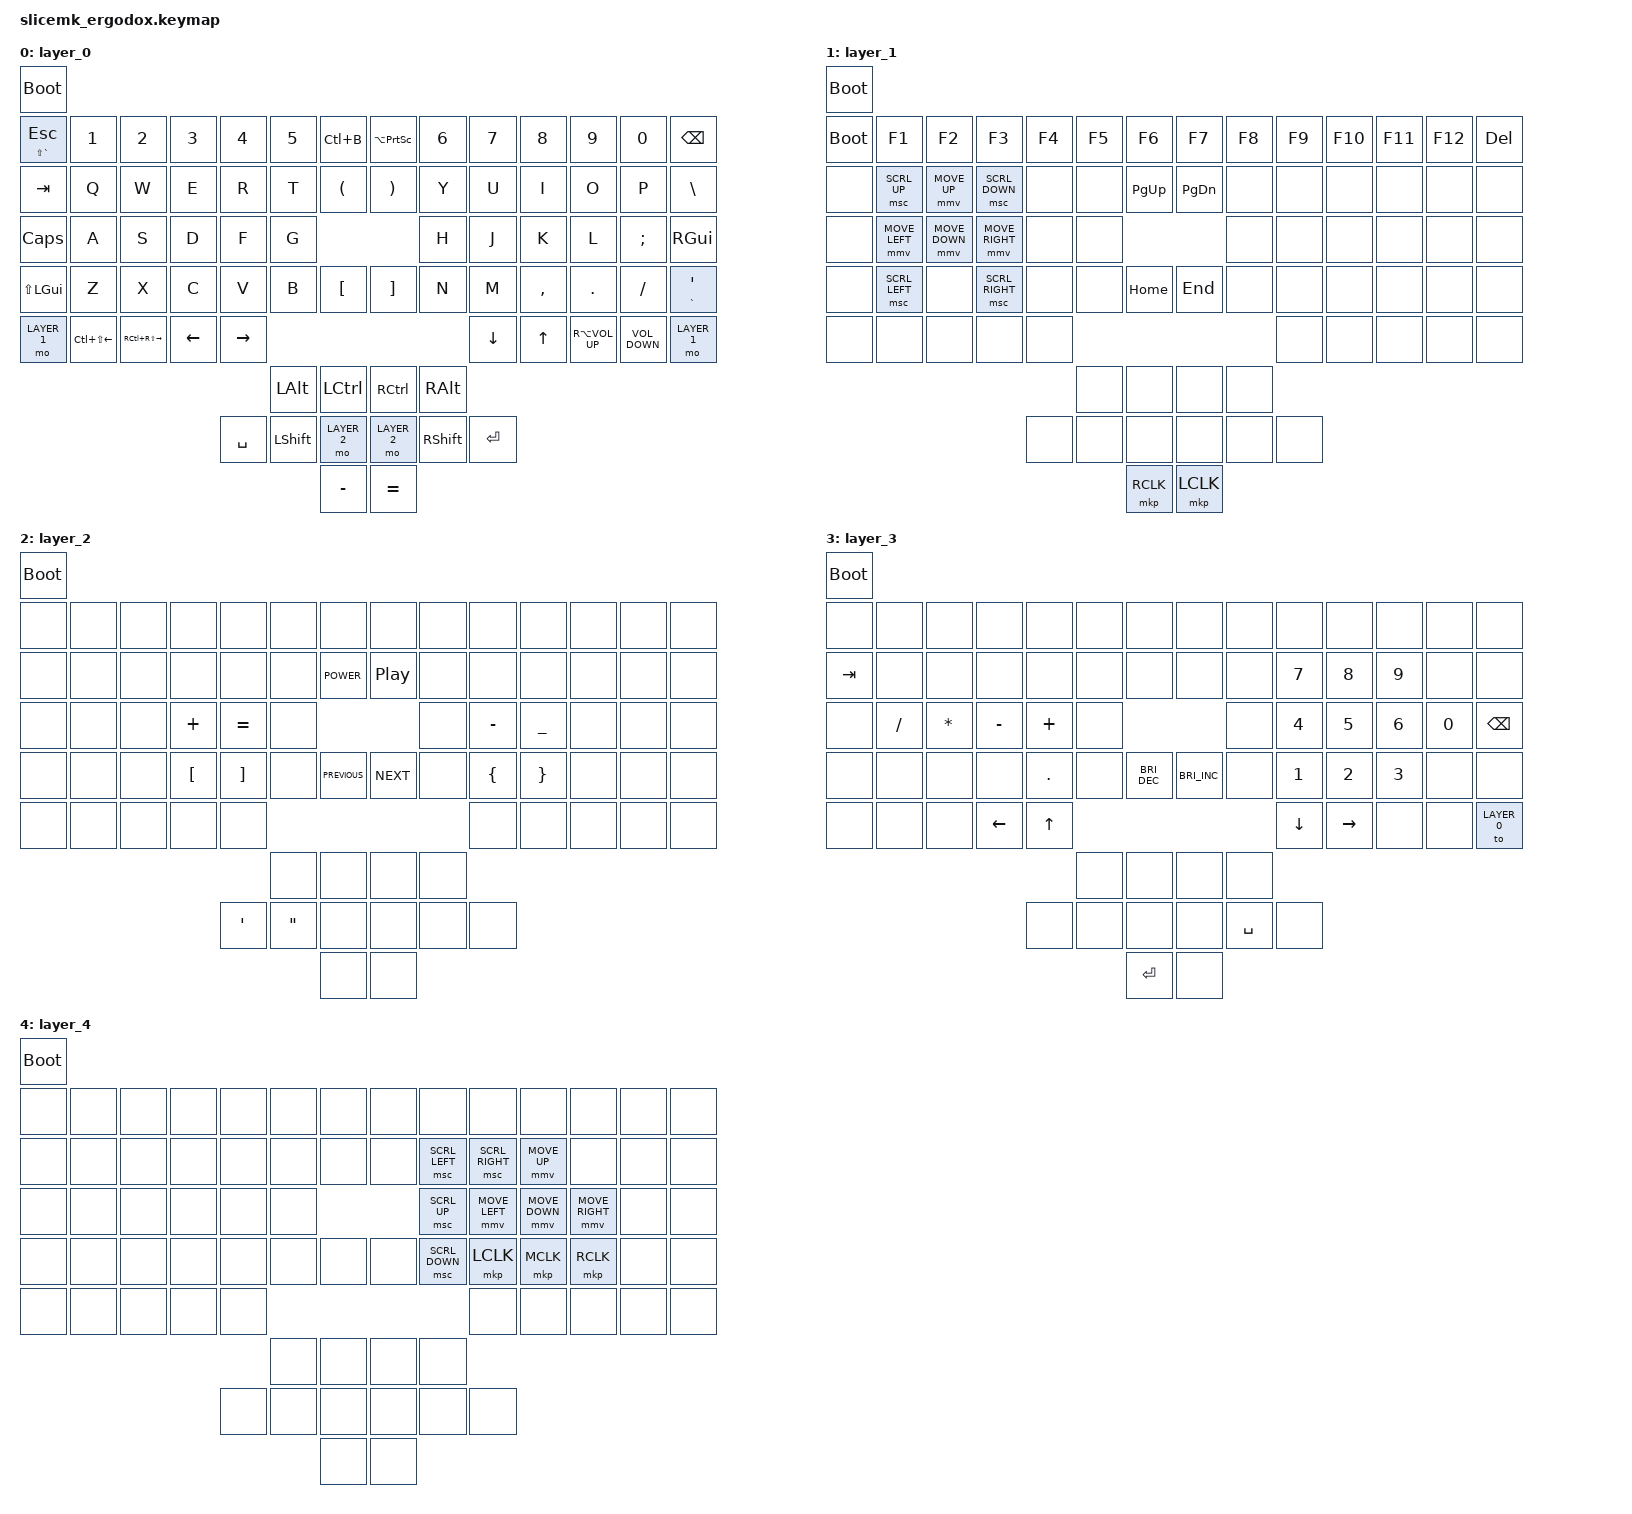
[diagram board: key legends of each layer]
#define LAYER_0 0
#define LAYER_1 1
#define LAYER_2 2
#define LAYER_NMPAD 3
#define LAYER_MOUSE 4

#include <behaviors.dtsi>
#include <dt-bindings/zmk/bt.h>
#include <dt-bindings/zmk/keys.h>
#include <dt-bindings/zmk/mouse.h>
#include <dt-bindings/zmk/outputs.h>
#include <dt-bindings/zmk/rgb.h>

/ {
	keymap {
		compatible = "zmk,keymap";
		layer_0 {
			bindings = <
				&bootloader
				&mt LS(GRAVE) ESCAPE &kp NUMBER_1           &kp NUMBER_2            &kp NUMBER_3   &kp NUMBER_4    &kp NUMBER_5   &kp LC(B)            &kp LA(PRINTSCREEN)   &kp NUMBER_6    &kp NUMBER_7   &kp NUMBER_8 &kp NUMBER_9        &kp NUMBER_0      &kp BACKSPACE
				&kp TAB              &kp Q                  &kp W                   &kp E          &kp R           &kp T          &kp LEFT_PARENTHESIS &kp RIGHT_PARENTHESIS &kp Y           &kp U          &kp I        &kp O               &kp P             &kp BACKSLASH
				&kp CAPSLOCK         &kp A                  &kp S                   &kp D          &kp F           &kp G                                                     &kp H           &kp J          &kp K        &kp L               &kp SEMICOLON     &kp RIGHT_GUI
				&kp LS(LEFT_GUI)     &kp Z                  &kp X                   &kp C          &kp V           &kp B          &kp LEFT_BRACKET     &kp RIGHT_BRACKET     &kp N           &kp M          &kp COMMA    &kp PERIOD          &kp SLASH         &mt GRAVE SINGLE_QUOTE
				&mo LAYER_1          &kp LC(LS(LEFT_ARROW)) &kp RC(RS(RIGHT_ARROW)) &kp LEFT_ARROW &kp RIGHT_ARROW                                                                           &kp DOWN_ARROW &kp UP_ARROW &kp RA(C_VOLUME_UP) &kp C_VOLUME_DOWN &mo LAYER_1
				                                                                                                   &kp LEFT_ALT   &kp LEFT_CONTROL     &kp RIGHT_CONTROL     &kp RIGHT_ALT
				                                                                                   &kp SPACE       &kp LEFT_SHIFT &mo LAYER_2          &mo LAYER_2           &kp RIGHT_SHIFT &kp RETURN
				                                                                                                                  &kp MINUS            &kp EQUAL
			>;
		};
		layer_1 {
			bindings = <
				&bootloader
				&bootloader &kp F1         &kp F2         &kp F3          &kp F4 &kp F5 &kp F6      &kp F7        &kp F8 &kp F9 &kp F10 &kp F11 &kp F12 &kp DELETE
				&none       &msc SCRL_UP   &mmv MOVE_UP   &msc SCRL_DOWN  &none  &none  &kp PAGE_UP &kp PAGE_DOWN &none  &none  &none   &none   &none   &none
				&none       &mmv MOVE_LEFT &mmv MOVE_DOWN &mmv MOVE_RIGHT &none  &none                            &none  &none  &none   &none   &none   &none
				&none       &msc SCRL_LEFT &none          &msc SCRL_RIGHT &none  &none  &kp HOME    &kp END       &none  &none  &none   &none   &none   &none
				&none       &none          &none          &none           &none                                          &none  &none   &none   &none   &none
				                                                                 &none  &none       &none         &none
				                                                          &none  &none  &none       &none         &none  &none
				                                                                        &mkp RCLK   &mkp LCLK
			>;
		};
		layer_2 {
			bindings = <
				&bootloader
				&none &none &none &none            &none             &none             &none          &none            &none &none          &none           &none &none &none
				&none &none &none &none            &none             &none             &kp C_POWER    &kp C_PLAY_PAUSE &none &none          &none           &none &none &none
				&none &none &none &kp PLUS         &kp EQUAL         &none                                             &none &kp MINUS      &kp UNDERSCORE  &none &none &none
				&none &none &none &kp LEFT_BRACKET &kp RIGHT_BRACKET &none             &kp C_PREVIOUS &kp C_NEXT       &none &kp LEFT_BRACE &kp RIGHT_BRACE &none &none &none
				&none &none &none &none            &none                                                                     &none          &none           &none &none &none
				                                                     &none             &none          &none            &none
				                                   &kp SINGLE_QUOTE  &kp DOUBLE_QUOTES &none          &none            &none &none
				                                                                       &none          &none
			>;
		};
		layer_3 {
			bindings = <
				&bootloader
				&none   &none     &none        &none          &none        &none &none                &none                &none     &none          &none           &none        &none        &none
				&kp TAB &none     &none        &none          &none        &none &none                &none                &none     &kp NUMBER_7   &kp NUMBER_8    &kp NUMBER_9 &none        &none
				&none   &kp SLASH &kp ASTERISK &kp MINUS      &kp PLUS     &none                                           &none     &kp NUMBER_4   &kp NUMBER_5    &kp NUMBER_6 &kp NUMBER_0 &kp BACKSPACE
				&none   &none     &none        &none          &kp PERIOD   &none &kp C_BRIGHTNESS_DEC &kp C_BRIGHTNESS_INC &none     &kp NUMBER_1   &kp NUMBER_2    &kp NUMBER_3 &none        &none
				&none   &none     &none        &kp LEFT_ARROW &kp UP_ARROW                                                           &kp DOWN_ARROW &kp RIGHT_ARROW &none        &none        &to LAYER_0
				                                                           &none &none                &none                &none
				                                              &none        &none &none                &none                &kp SPACE &none
				                                                                 &kp RETURN           &none
			>;
		};
		layer_4 {
			bindings = <
				&bootloader
				&none &none &none &none &none &none &none &none &none          &none           &none          &none           &none &none
				&none &none &none &none &none &none &none &none &msc SCRL_LEFT &msc SCRL_RIGHT &mmv MOVE_UP   &none           &none &none
				&none &none &none &none &none &none             &msc SCRL_UP   &mmv MOVE_LEFT  &mmv MOVE_DOWN &mmv MOVE_RIGHT &none &none
				&none &none &none &none &none &none &none &none &msc SCRL_DOWN &mkp LCLK       &mkp MCLK      &mkp RCLK       &none &none
				&none &none &none &none &none                                  &none           &none          &none           &none &none
				                              &none &none &none &none
				                        &none &none &none &none &none          &none
				                                    &none &none
			>;
		};
	};
};
